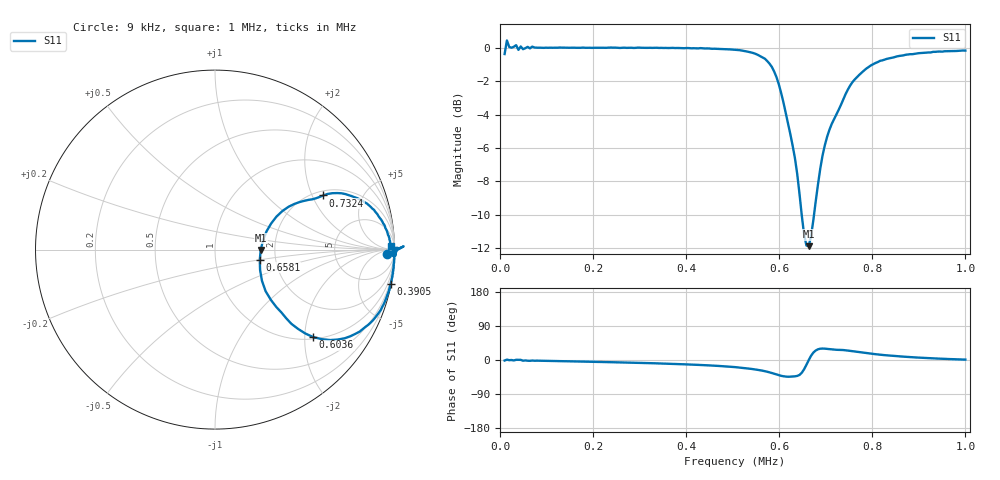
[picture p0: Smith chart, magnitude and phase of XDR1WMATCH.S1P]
!Agilent Technologies,E5071C,MY46100305,A.07.02
!Date: Fri Jan 01 00:50:11 1988
!Data & Calibration Information:
!Freq	S11:SOLT1(ON)
# Hz S MA R 50
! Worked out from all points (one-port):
!   201 points, 9 kHz to 1 MHz, reference 50 ohm
!   lowest |S11| = -11.9 dB at 663.1 kHz (marker M1), VSWR 1.68, Z = 84.2 - j0.306 ohm
!   |S11| at or under -10 dB: 648 kHz to 674.5 kHz (26.5 kHz wide, 4.01 % of centre)
!   S11 on the Smith chart (normalised r, x): 9 kHz: 35, -19; 390.5 kHz: 0, -10; 603.6 kHz: 1.05, -2.20; 658.1 kHz: 1.65, -0.20; 732.4 kHz: 2.19, +2.43; 1 MHz: 56, +49
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9000  0.9572 -1.4
13955  1.051 1.0
18910  1.005 -0.4
28820  1.007 -1.2
33775  1.018 0.6
38730  0.985 0.5
43685  1.008 0.4
48640  0.9897 -1.8
132875  1 -3.1
256750  0.9983 -6.3
380625  0.9981 -10.8
390535  0.9969 -11.2
504500  0.985 -18.8
544140  0.9635 -24.2
568915  0.9265 -29.5
583780  0.8757 -34.3
603600  0.7331 -41.7
628375  0.5098 -43.4
643240  0.3648 -39.4
658105  0.2558 -12.7
663060  0.2546 -0.4
677925  0.3453 25.0
692790  0.4757 30.2
732430  0.6747 26.6
752250  0.7707 24.0
806755  0.9 15.3
876125  0.9542 8.2
1000000  0.9801 1.0
